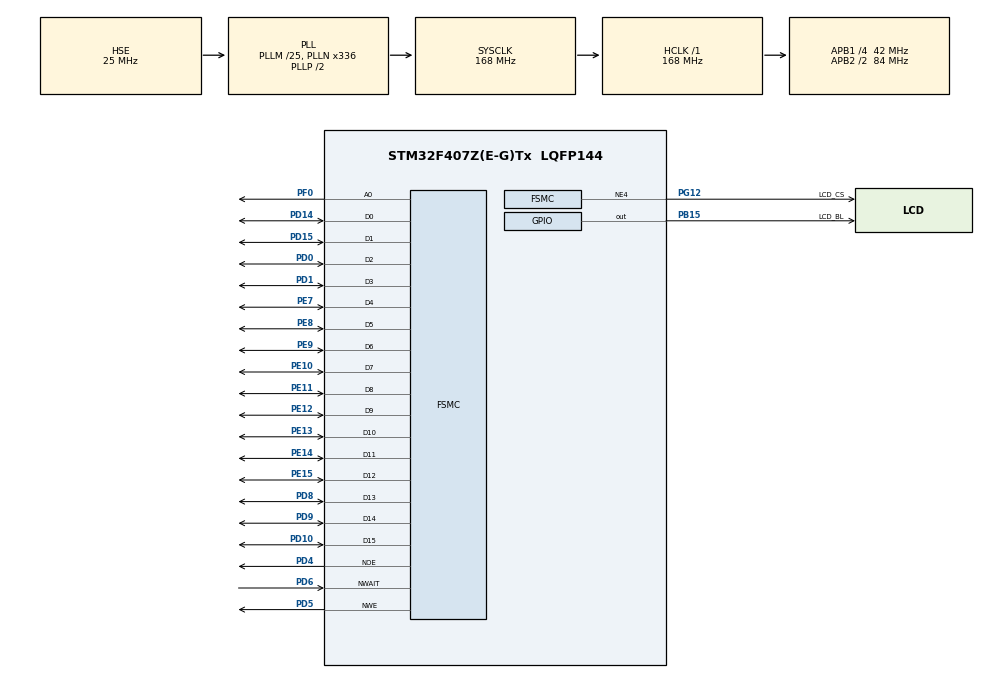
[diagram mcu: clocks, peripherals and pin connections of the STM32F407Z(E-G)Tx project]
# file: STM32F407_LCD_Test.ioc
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FREERTOS.Tasks01=defaultTask,24,2048,StartDefaultTask,Default,NULL,Dynamic,NULL,NULL
FSMC.ExtendedMode1=FSMC_EXTENDED_MODE_DISABLE
FSMC.WriteOperation1=FSMC_WRITE_OPERATION_ENABLE
Mcu.Family=STM32F4
Mcu.Name=STM32F407Z(E-G)Tx
Mcu.Package=LQFP144
NVIC.PriorityGroup=NVIC_PRIORITYGROUP_4
NVIC.TIM6_DAC_IRQn=true\:15\:0\:false\:false\:true\:false\:false\:true\:true
NVIC.TimeBase=TIM6_DAC_IRQn
NVIC.TimeBaseIP=TIM6
PA13.Mode=Serial_Wire
PA13.Signal=SYS_JTMS-SWDIO
PA14.Mode=Serial_Wire
PA14.Signal=SYS_JTCK-SWCLK
PB15.GPIO_Label=LCD_BL
PB15.GPIO_Speed=GPIO_SPEED_FREQ_HIGH
PB15.PinState=GPIO_PIN_RESET
PB15.Signal=GPIO_Output
PC14-OSC32_IN.Mode=LSE-External-Oscillator
PC14-OSC32_IN.Signal=RCC_OSC32_IN
PC15-OSC32_OUT.Mode=LSE-External-Oscillator
PC15-OSC32_OUT.Signal=RCC_OSC32_OUT
PD0.Signal=FSMC_D2_DA2
PD1.Signal=FSMC_D3_DA3
PD10.Signal=FSMC_D15_DA15
PD14.Signal=FSMC_D0_DA0
PD15.Signal=FSMC_D1_DA1
PD4.Signal=FSMC_NOE
PD5.Signal=FSMC_NWE
PD6.Signal=FSMC_NWAIT
PD8.Signal=FSMC_D13_DA13
PD9.Signal=FSMC_D14_DA14
PE10.Signal=FSMC_D7_DA7
PE11.Signal=FSMC_D8_DA8
PE12.Signal=FSMC_D9_DA9
PE13.Signal=FSMC_D10_DA10
PE14.Signal=FSMC_D11_DA11
PE15.Signal=FSMC_D12_DA12
PE7.Signal=FSMC_D4_DA4
PE8.Signal=FSMC_D5_DA5
PE9.Signal=FSMC_D6_DA6
PF0.Signal=FSMC_A0
PF12.Signal=FSMC_A6
PG12.GPIO_Label=LCD_CS
PG12.Mode=NorPsramChipSelect4_1
PG12.Signal=FSMC_NE4
PH0-OSC_IN.Mode=HSE-External-Oscillator
PH0-OSC_IN.Signal=RCC_OSC_IN
PH1-OSC_OUT.Mode=HSE-External-Oscillator
PH1-OSC_OUT.Signal=RCC_OSC_OUT
ProjectManager.HeapSize=0x200
ProjectManager.StackSize=0x400
ProjectManager.TargetToolchain=CMake
RCC.48MHZClocksFreq_Value=84000000
RCC.AHBFreq_Value=168000000
RCC.APB1CLKDivider=RCC_HCLK_DIV4
RCC.APB1Freq_Value=42000000
RCC.APB1TimFreq_Value=84000000
RCC.APB2CLKDivider=RCC_HCLK_DIV2
RCC.APB2Freq_Value=84000000
RCC.APB2TimFreq_Value=168000000
RCC.CortexFreq_Value=168000000
RCC.HCLKFreq_Value=168000000
RCC.HSE_VALUE=25000000
RCC.HSI_VALUE=16000000
RCC.PLLM=25
RCC.PLLN=336
RCC.PLLSourceVirtual=RCC_PLLSOURCE_HSE
RCC.SYSCLKFreq_VALUE=168000000
RCC.SYSCLKSource=RCC_SYSCLKSOURCE_PLLCLK
RCC.VCOOutputFreq_Value=336000000
SH.FSMC_A0.0=FSMC_A0,1b-a1
SH.FSMC_A6.0=FSMC_A6
SH.FSMC_D0_DA0.0=FSMC_D0,16b-d1
SH.FSMC_D10_DA10.0=FSMC_D10,16b-d1
SH.FSMC_D11_DA11.0=FSMC_D11,16b-d1
SH.FSMC_D12_DA12.0=FSMC_D12,16b-d1
SH.FSMC_D13_DA13.0=FSMC_D13,16b-d1
SH.FSMC_D14_DA14.0=FSMC_D14,16b-d1
SH.FSMC_D15_DA15.0=FSMC_D15,16b-d1
SH.FSMC_D1_DA1.0=FSMC_D1,16b-d1
SH.FSMC_D2_DA2.0=FSMC_D2,16b-d1
SH.FSMC_D3_DA3.0=FSMC_D3,16b-d1
SH.FSMC_D4_DA4.0=FSMC_D4,16b-d1
SH.FSMC_D5_DA5.0=FSMC_D5,16b-d1
SH.FSMC_D6_DA6.0=FSMC_D6,16b-d1
SH.FSMC_D7_DA7.0=FSMC_D7,16b-d1
SH.FSMC_D8_DA8.0=FSMC_D8,16b-d1
SH.FSMC_D9_DA9.0=FSMC_D9,16b-d1
SH.FSMC_NOE.0=FSMC_NOE,Sram1
SH.FSMC_NWAIT.0=FSMC_NWAIT,AsynchronousWait1
SH.FSMC_NWE.0=FSMC_NWE,Sram1
VP_FREERTOS_VS_CMSIS_V2.Mode=CMSIS_V2
VP_SYS_VS_tim6.Mode=TIM6
board=custom

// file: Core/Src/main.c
/* USER CODE BEGIN Header */
/**
  ******************************************************************************
  * @file           : main.c
  * @brief          : Main program body
  ******************************************************************************
  * @attention
  *
  * Copyright (c) 2026 STMicroelectronics.
  * All rights reserved.
  *
  * This software is licensed under terms that can be found in the LICENSE file
  * in the root directory of this software component.
  * If no LICENSE file comes with this software, it is provided AS-IS.
  *
  ******************************************************************************
  */
/* USER CODE END Header */
#include "main.h"
#include "cmsis_os.h"
#include "gpio.h"
#include "fsmc.h"

/* USER CODE BEGIN Includes */
#include "lvgl.h"
#include "gui_guider.h"
#include "events_init.h"
#include "custom.h"
/* USER CODE END Includes */

/* USER CODE BEGIN PV */
lv_ui guider_ui;
/* USER CODE END PV */

void SystemClock_Config(void);
void MX_FREERTOS_Init(void);

int main(void)
{

  /* MCU Configuration--------------------------------------------------------*/

  /* Reset of all peripherals, Initializes the Flash interface and the Systick. */
  HAL_Init();

  /* Configure the system clock */
  SystemClock_Config();

  /* Initialize all configured peripherals */
  MX_GPIO_Init();
  MX_FSMC_Init();
  /* USER CODE BEGIN 2 */
  /* LCD和LVGL初始化已移至FreeRTOS任务中执行 */
  /* USER CODE END 2 */

  /* Init scheduler */
  osKernelInitialize();  /* Call init function for freertos objects (in cmsis_os2.c) */
  MX_FREERTOS_Init();

  /* Start scheduler */
  osKernelStart();

  /* We should never get here as control is now taken by the scheduler */

  /* Infinite loop */
  while (1)
  {

  }
}

void SystemClock_Config(void)
{
  RCC_OscInitTypeDef RCC_OscInitStruct = {0};
  RCC_ClkInitTypeDef RCC_ClkInitStruct = {0};

  /** Configure the main internal regulator output voltage
  */
  __HAL_RCC_PWR_CLK_ENABLE();
  __HAL_PWR_VOLTAGESCALING_CONFIG(PWR_REGULATOR_VOLTAGE_SCALE1);

  /** Initializes the RCC Oscillators according to the specified parameters
  * in the RCC_OscInitTypeDef structure.
  */
  RCC_OscInitStruct.OscillatorType = RCC_OSCILLATORTYPE_HSE;
  RCC_OscInitStruct.HSEState = RCC_HSE_ON;
  RCC_OscInitStruct.PLL.PLLState = RCC_PLL_ON;
  RCC_OscInitStruct.PLL.PLLSource = RCC_PLLSOURCE_HSE;
  RCC_OscInitStruct.PLL.PLLM = 25;
  RCC_OscInitStruct.PLL.PLLN = 336;
  RCC_OscInitStruct.PLL.PLLP = RCC_PLLP_DIV2;
  RCC_OscInitStruct.PLL.PLLQ = 4;
  if (HAL_RCC_OscConfig(&RCC_OscInitStruct) != HAL_OK)
  {
    Error_Handler();
  }

  /** Initializes the CPU, AHB and APB buses clocks
  */
  RCC_ClkInitStruct.ClockType = RCC_CLOCKTYPE_HCLK|RCC_CLOCKTYPE_SYSCLK
                              |RCC_CLOCKTYPE_PCLK1|RCC_CLOCKTYPE_PCLK2;
  RCC_ClkInitStruct.SYSCLKSource = RCC_SYSCLKSOURCE_PLLCLK;
  RCC_ClkInitStruct.AHBCLKDivider = RCC_SYSCLK_DIV1;
  RCC_ClkInitStruct.APB1CLKDivider = RCC_HCLK_DIV4;
  RCC_ClkInitStruct.APB2CLKDivider = RCC_HCLK_DIV2;

  if (HAL_RCC_ClockConfig(&RCC_ClkInitStruct, FLASH_LATENCY_5) != HAL_OK)
  {
    Error_Handler();
  }
}

/* USER CODE BEGIN 4 */
/* lv_tick_inc 已不再需要，LVGL 现在通过 LV_TICK_CUSTOM 直接读取 osKernelGetTickCount() */
/* USER CODE END 4 */

void HAL_TIM_PeriodElapsedCallback(TIM_HandleTypeDef *htim)
{
  if (htim->Instance == TIM6)
  {
    HAL_IncTick();
  }
}

void Error_Handler(void)
{
  __disable_irq();
  while (1)
  {
  }
}

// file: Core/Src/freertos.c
/* USER CODE BEGIN Header */
/**
  ******************************************************************************
  * File Name          : freertos.c
  * Description        : Code for freertos applications
  ******************************************************************************
  * @attention
  *
  * Copyright (c) 2026 STMicroelectronics.
  * All rights reserved.
  *
  * This software is licensed under terms that can be found in the LICENSE file
  * in the root directory of this software component.
  * If no LICENSE file comes with this software, it is provided AS-IS.
  *
  ******************************************************************************
  */
/* USER CODE END Header */

#include "FreeRTOS.h"
#include "task.h"
#include "main.h"
#include "cmsis_os.h"

/* USER CODE BEGIN Includes */
#include "lcd.h"
#include "lvgl.h"
#include "lv_port_disp.h"
#include "../Inc/lv_port_indev.h"
#include "touch.h"
#include "gui_guider.h"
#include "events_init.h"
#include "custom.h"
#include "user_app.h"  /* 业务层隔离入口 - 仅此一处引入 */
#include "health_app.h"
#include "app_config.h"
#include <stdio.h>
/* USER CODE END Includes */

/* USER CODE BEGIN Variables */

/* 初始化完成信号量：defaultTask 完成硬件初始化后通知 guiTask */
osSemaphoreId_t xInitDoneSem;

/* GUI 互斥锁，保护 LVGL API 线程安全 */
osMutexId_t xGuiMutex;

/* GUI Guider 全局 UI 结构体 */
extern lv_ui guider_ui;
/* USER CODE END Variables */

/* Definitions for defaultTask */
osThreadId_t defaultTaskHandle;
const osThreadAttr_t defaultTask_attributes = {
  .name = "defaultTask",
  .stack_size = 1536 * 4, /* 6KB：仅硬件初始化后自删除 */
  .priority = (osPriority_t) osPriorityAboveNormal,
};

/* Definitions for guiTask */
osThreadId_t guiTaskHandle;
const osThreadAttr_t guiTask_attributes = {
  .name = "guiTask",
  .stack_size = 3072 * 4, /* 12KB：LVGL 足够 */
  .priority = (osPriority_t) osPriorityNormal,
};

void StartDefaultTask(void *argument);
void StartGUITask(void *argument);

void MX_FREERTOS_Init(void); /* (MISRA C 2004 rule 8.1) */

void MX_FREERTOS_Init(void) {

  /* USER CODE BEGIN RTOS_SEMAPHORES */
  /* 创建初始化完成信号量（初始计数为0，等待 defaultTask Release） */
  xInitDoneSem = osSemaphoreNew(1, 0, NULL);
  /* USER CODE END RTOS_SEMAPHORES */

  /* Create the thread(s) */
  /* creation of defaultTask */
  defaultTaskHandle = osThreadNew(StartDefaultTask, NULL, &defaultTask_attributes);

  /* USER CODE BEGIN RTOS_THREADS */
  /* creation of guiTask */
  guiTaskHandle = osThreadNew(StartGUITask, NULL, &guiTask_attributes);
  /* USER CODE END RTOS_THREADS */

}

void StartDefaultTask(void *argument)
{
  /* USER CODE BEGIN StartDefaultTask */

  /* 1. 初始化 LCD 硬件（校准需要直接操作 LCD） */
  HAL_GPIO_WritePin(GPIOB, GPIO_PIN_15, GPIO_PIN_SET);
  HAL_GPIO_WritePin(GPIOG, GPIO_PIN_12, GPIO_PIN_RESET);
  if (LCD_Init() != 0) {
    Error_Handler();
  }

  /* 2. 触摸功能已禁用，跳过触摸初始化和校准 */

  /* 3. 直接初始化 LVGL 和显示驱动 */
  /* LCD方向和清屏已在 lv_port_disp_init -> disp_init 中处理 */
  lv_init();
  lv_port_disp_init();

  /* 4. 初始化 LVGL 输入设备（Encoder Indev 仅提供 indev→Group 绑定，
   *    实际按键扫描由 custom_ui_process_keys() 手动完成，见 custom.c） */
  lv_port_indev_init();

  /* 5. 创建 GUI 互斥锁 */
  xGuiMutex = osMutexNew(NULL);

  /* 6. 初始化业务层：先准备共享数据和后台任务，再放行 GUI */
  User_App_Init();

  /* 7. 通知 guiTask：硬件初始化和业务层初始化均已完成 */
  osSemaphoreRelease(xInitDoneSem);

  /* 初始化完成：defaultTask 不再需要，可以删除自身（未注册心跳槽） */
  vTaskDelete(NULL);

  /* USER CODE END StartDefaultTask */
}

/* USER CODE BEGIN Header_StartGUITask */
/**
  * @brief  Function implementing the guiTask thread.
  *         负责 GUI Guider UI 初始化和 lv_timer_handler 主循环
  * @param  argument: Not used
  * @retval None
  */
/* USER CODE END Header_StartGUITask */
void StartGUITask(void *argument)
{
  /* USER CODE BEGIN StartGUITask */

  /* 阻塞等待 defaultTask 完成 LCD/LVGL/触摸初始化（信号量同步，非固定延时） */
  osSemaphoreAcquire(xInitDoneSem, osWaitForever);

  /* 获取锁后初始化 GUI Guider UI */
  if (osMutexAcquire(xGuiMutex, osWaitForever) == osOK) {
    setup_ui(&guider_ui);
    events_init(&guider_ui);
    custom_init(&guider_ui);
    custom_ui_update_data();
    osMutexRelease(xGuiMutex);
  }

  /* GUI 主循环：lv_timer_handler + 主循环数据刷新（绕过 lv_timer 定时问题） */
  for (;;) {
    health_beat(APP_HB_GUI);
    if (osMutexAcquire(xGuiMutex, osWaitForever) == osOK) {
      custom_ui_process_keys();
      lv_timer_handler();
      osMutexRelease(xGuiMutex);
    }
    /* 每 ~100ms 直接刷新传感器数据到屏幕（主循环方式，不依赖 lv_timer） */
    {
      static uint32_t _refresh_cnt = 0;
      if (++_refresh_cnt >= 20) {
        _refresh_cnt = 0;
        if (osMutexAcquire(xGuiMutex, osWaitForever) == osOK) {
          custom_ui_update_data();
          osMutexRelease(xGuiMutex);
        }
      }
    }
    osDelay(5);
  }

  /* USER CODE END StartGUITask */
}
